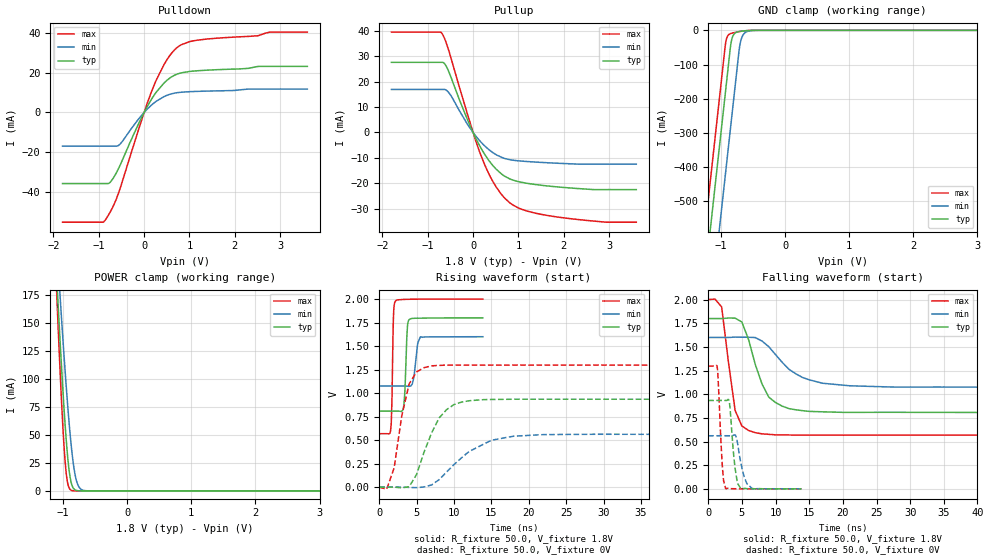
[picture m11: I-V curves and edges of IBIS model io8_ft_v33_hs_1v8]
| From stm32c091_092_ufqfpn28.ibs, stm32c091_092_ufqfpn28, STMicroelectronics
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[Model]   io8_ft_v33_hs_1v8
Model_type I/O
Polarity   Non-Inverting
Enable   Active-Low
| CAP_THRESHOLD on pad IOFT is "UDTCAPC" :
| Rising=30.0% of vddiom   Falling=70.0% of vddiom
| C_comp min and max val. don't necessarily correlate with the min and max pvt
| but are the smallest and greatest pad capacitance found.
| var   typ   min   max
C_comp   1.89031pF  1.85604pF  1.94205pF
|C_comp_pullup   1.06891pF  1.07322pF  1.05625pF
|C_comp_pulldown   821.40335fF  782.82580fF  885.80047fF
Vinl = 800.0mV
Vinh = 1.0V
Vmeas = 900.0mV   | Reference voltage for timing measurements
Cref  = 50.0pF   | Timing specification test load capacitance value
Rref  = 1.0MOhm   | Timing specification test load resistance value
Vref  = 990.0mV   | Timing specification test load voltage
[Model Spec]
| TIME_THRESHOLD on pin ZIV33M is "CMOS" :
| Rising=50.0% of vddiom   Falling=50.0% of vddiom
Vinl 728.70000mV 652.70000mV 817.70000mV
Vinh 1.06430V 953.30000mV 1.16330V
| variable   typ   min   max
[Temperature Range] 25.0 125.0 -40.0
| variable   typ   min   max
[Voltage Range] 1.8V 1.6V 2.0V
| variable   typ   min   max
[POWER Clamp Reference] 1.8V 1.6V 2.0V
| variable   typ   min   max
[GND Clamp Reference] 0V 0V 0V
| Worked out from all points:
|   slope of the pulldown table from 0 to 0.27 V, typ, clamps not added: 26.3 ohm
|   slope of the pullup table from 0 to 0.27 V, typ, clamps not added: 30 ohm
|   GND clamp passes 1 mA (typ) near -0.61 V on its own axis
|   POWER clamp passes 1 mA (typ) near -0.81 V on its own axis
|   rising waveform, R_fixture 50.0, V_fixture 1.8V: 20-80 % time 275ps typ, 432ps min, 195ps max; typ from 0.809 V to 1.8 V
|   falling waveform, R_fixture 50.0, V_fixture 1.8V: 20-80 % time 2.87ns typ, 4.86ns min, 1.59ns max; typ from 1.8 V to 0.808 V
|   rising waveform, R_fixture 50.0, V_fixture 0V: 20-80 % time 2.93ns typ, 5.35ns min, 1.73ns max; typ from 0 V to 0.934 V
|   falling waveform, R_fixture 50.0, V_fixture 0V: 20-80 % time 701ps typ, 998ps min, 529ps max; typ from 0.935 V to 0 V
[POWER Clamp]
-1.8V     1.053A     933.5mA    1.262A
-1.1V     191.1mA    222.7mA    177.1mA
-1.08V    169mA      204.2mA    149.9mA
-1.05V    136.9mA    176.9mA    110.9mA
-1.01V    96.55mA    141.6mA    64.02mA
-980mV    68.91mA    116.4mA    35.23mA
-940mV    37.57mA    84.83mA    10.65mA
-880mV    8.969mA    44.34mA    807.4uA
-830mV    1.697mA    20.19mA    75.79uA
-790mV    394.2uA    8.787mA    11.25uA
-670mV    4.467uA    374.2uA    36.56nA
3.6V      0A         0A         0A
[GND Clamp]
-1.8V     -1.658A    -1.897A    -1.517A
-1.24V    -706mA     -945.3mA   -564.6mA
-1.05V    -383mA     -622.3mA   -241.6mA
-930mV    -179mA     -418.3mA   -38.91mA
-910mV    -145mA     -384.3mA   -22.02mA
-870mV    -77.01mA   -316.3mA   -11.35mA
-850mV    -44.09mA   -282.3mA   -9.519mA
-820mV    -19mA      -231.3mA   -7.801mA
-710mV    -3.257mA   -47.82mA   -3.606mA
-660mV    -1.938mA   -14.77mA   -2.175mA
-590mV    -790.4uA   -3.415mA   -786.7uA
3.6V      506.8pA    48.18nA    364.4pA
| variable   typ   min   max
[Pullup Reference] 1.8V 1.6V 2.0V
| variable   typ   min   max
[Pulldown Reference] 0V 0V 0V
[Pullup]
-1.8V     27.62mA    16.93mA    39.53mA
-680mV    27.62mA    16.93mA    38.81mA
-610mV    26.58mA    16.85mA    36.12mA
-520mV    23.23mA    15.32mA    31.29mA
-120mV    4.869mA    3.102mA    6.98mA
210mV     -7.259mA   -4.466mA   -10.7mA
490mV     -14.1mA    -8.547mA   -20.93mA
810mV     -18.3mA    -10.74mA   -27.71mA
1.18V     -19.99mA   -11.43mA   -30.89mA
1.74V     -21.24mA   -12.01mA   -32.98mA
2.94V     -22.49mA   -12.46mA   -35.33mA
3.6V      -22.49mA   -12.46mA   -35.33mA
[Pulldown]
-1.8V     -35.76mA   -16.97mA   -55.17mA
-910mV    -35.76mA   -16.97mA   -55.17mA
-830mV    -35.76mA   -16.97mA   -53.18mA
-720mV    -34.31mA   -16.97mA   -48.86mA
-540mV    -27.04mA   -16.13mA   -38.89mA
-120mV    -5.569mA   -3.236mA   -8.457mA
230mV     8.974mA    4.965mA    14.24mA
520mV     16.45mA    8.737mA    27.07mA
750mV     19.43mA    9.977mA    33.01mA
1.37V     21.21mA    10.7mA     36.84mA
2.78V     23.13mA    11.74mA    40.36mA
3.6V      23.13mA    11.74mA    40.37mA
[Ramp]
dV/dt_r 560.68004mV/2.91087ns 336.95137mV/5.35453ns 778.79113mV/1.66822ns
dV/dt_f 595.45735mV/2.75508ns 315.20486mV/4.83918ns 858.88547mV/1.50615ns
R_load = 50.0
| Removed startup time: 0s 0s 0s  .
| Removed end time: 13.85ns.
[Rising Waveform]
R_fixture   = 50.0
V_fixture   = 1.8V
V_fixture_min = 1.6V
V_fixture_max = 2.0V
0s        808.6mV    1.076V     568.1mV
1.5ns     808.6mV    1.076V     592mV
1.7ns     808.6mV    1.075V     926.5mV
1.9ns     808.6mV    1.076V     1.809V
2.2ns     808.6mV    1.076V     1.982V
3.25ns    849.6mV    1.076V     1.996V
3.7ns     1.619V     1.073V     1.997V
4ns       1.781V     1.071V     1.998V
5.5ns     1.797V     1.598V     1.999V
13.85ns   1.8V       1.6V       2V
| Removed startup time: 0s 0s 0s  .
| Removed end time: 249.0ns.
[Falling Waveform]
R_fixture   = 50.0
V_fixture   = 1.8V
V_fixture_min = 1.6V
V_fixture_max = 2.0V
0s        1.8V       1.6V       2V
1ns       1.8V       1.6V       2.006V
2ns       1.8V       1.6V       1.923V
4ns       1.805V     1.604V     829.4mV
5ns       1.764V     1.603V     665mV
8ns       1.108V     1.562V     581.9mV
10ns      912.6mV    1.419V     571.1mV
14ns      826.8mV    1.178V     568.4mV
27ns      809.5mV    1.077V     568.1mV
249ns     807.6mV    1.075V     568.5mV
| Removed startup time: 0s 0s 0s  .
| Removed end time: 249.0ns.
[Rising Waveform]
R_fixture   = 50.0
V_fixture   = 0V
V_fixture_min = 0V
V_fixture_max = 0V
0s        440.8nV    588.6nV    -2.687uV
1ns       -891.7nV   -286.7nV   -21.93mV
2ns       13.54uV    -2.417uV   206.9mV
3ns       -8.163mV   89.86uV    752.9mV
4ns       3.799mV    -3.174mV   1.098V
7ns       576.3mV    22.75mV    1.289V
11ns      904.4mV    311.5mV    1.298V
15ns      931.9mV    498.1mV    1.298V
22ns      934.7mV    558.4mV    1.298V
249ns     934.5mV    561.6mV    1.298V
| Removed startup time: 0s 0s 0s  .
| Removed end time: 13.85ns.
[Falling Waveform]
R_fixture   = 50.0
V_fixture   = 0V
V_fixture_min = 0V
V_fixture_max = 0V
0s        934.6mV    561.6mV    1.298V
1.35ns    934.6mV    561.6mV    1.282V
2.05ns    934.6mV    561.6mV    295.7mV
2.3ns     934.6mV    561.6mV    81.06mV
2.6ns     934.2mV    561.6mV    1.999mV
3.15ns    913.7mV    561.4mV    4.17mV
4ns       215.9mV    569.1mV    1.502mV
4.85ns    1.173mV    275.3mV    763.5uV
6.55ns    1.731mV    2.904mV    376.3uV
13.85ns   157uV      490.2uV    -108.9uV
